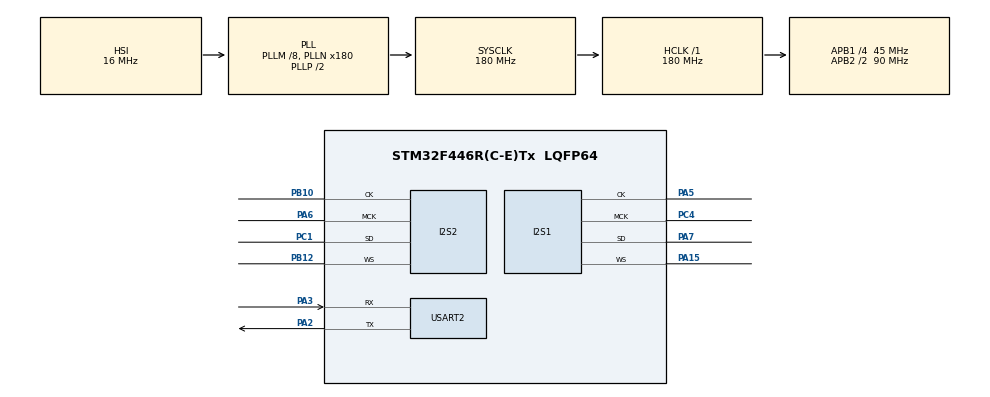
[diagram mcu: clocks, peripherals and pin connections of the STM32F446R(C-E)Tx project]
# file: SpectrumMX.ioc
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Mcu.Family=STM32F4
Dma.SPI2_TX.1.MemInc=DMA_MINC_ENABLE
I2S2.AudioFreq=I2S_AUDIOFREQ_48K
PA6.Mode=Master_Clock_Activated
RCC.CortexFreq_Value=180000000
PA7.Mode=Half_Duplex_Master
I2S1.ErrorAudioFreq=-2.34 %
I2S2.Instance=SPI$Index
PB10.Mode=Half_Duplex_Master
PC4.Signal=I2S1_MCK
Dma.SPI2_TX.1.PeriphInc=DMA_PINC_DISABLE
I2S1.Mode=I2S_MODE_MASTER_RX
I2S1.AudioFreq=I2S_AUDIOFREQ_48K
Dma.SPI1_RX.0.Mode=DMA_CIRCULAR
RCC.APB1CLKDivider=RCC_HCLK_DIV4
NVIC.DMA1_Stream4_IRQn=true\:0\:0\:false\:false\:true\:false\:true
I2S1.Instance=SPI$Index
RCC.SYSCLKSource=RCC_SYSCLKSOURCE_PLLCLK
ProjectManager.StackSize=0x400
Dma.SPI1_RX.0.FIFOMode=DMA_FIFOMODE_DISABLE
PA13.Signal=SYS_JTMS-SWDIO
PA3.Mode=Asynchronous
Dma.SPI1_RX.0.Direction=DMA_PERIPH_TO_MEMORY
ProjectManager.TargetToolchain=STM32CubeIDE
I2S1.DataFormat=I2S_DATAFORMAT_24B
RCC.HCLKFreq_Value=180000000
RCC.APB2TimFreq_Value=180000000
I2S1.VirtualMode=I2S_MODE_MASTER
I2S2.VirtualMode=I2S_MODE_MASTER
NVIC.DMA2_Stream0_IRQn=true\:0\:0\:false\:false\:true\:false\:true
RCC.USBFreq_Value=180000000
RCC.AHBFreq_Value=180000000
PB10.Signal=I2S2_CK
PA5.Signal=I2S1_CK
board=custom
Dma.SPI2_TX.1.Direction=DMA_MEMORY_TO_PERIPH
RCC.VCOOutputFreq_Value=360000000
PA15.Mode=Half_Duplex_Master
Dma.SPI1_RX.0.PeriphInc=DMA_PINC_DISABLE
RCC.APB2Freq_Value=90000000
Dma.SPI2_TX.1.PeriphDataAlignment=DMA_PDATAALIGN_WORD
PA14.Mode=Serial_Wire
Dma.SPI2_TX.1.Priority=DMA_PRIORITY_LOW
Dma.SPI1_RX.0.Instance=DMA2_Stream0
Dma.SPI1_RX.0.PeriphDataAlignment=DMA_PDATAALIGN_WORD
Dma.SPI1_RX.0.MemDataAlignment=DMA_MDATAALIGN_WORD
I2S1.FullDuplexMode=I2S_FULLDUPLEXMODE_DISABLE
I2S2.DataFormat=I2S_DATAFORMAT_24B
PA13.Mode=Serial_Wire
Mcu.Name=STM32F446R(C-E)Tx
Dma.SPI1_RX.0.MemInc=DMA_MINC_ENABLE
PA2.Signal=USART2_TX
I2S2.FullDuplexMode=I2S_FULLDUPLEXMODE_DISABLE
Dma.SPI2_TX.1.FIFOMode=DMA_FIFOMODE_DISABLE
RCC.SYSCLKFreq_VALUE=180000000
Mcu.Package=LQFP64
PA6.Signal=I2S2_MCK
PB12.Mode=Half_Duplex_Master
Dma.SPI2_TX.1.Mode=DMA_CIRCULAR
I2S2.ErrorAudioFreq=-2.34 %
USART2.VirtualMode=VM_ASYNC
PA14.Signal=SYS_JTCK-SWCLK
PA15.Signal=I2S1_WS
ProjectManager.HeapSize=0x200
Dma.SPI2_TX.1.Instance=DMA1_Stream4
Dma.SPI1_RX.0.Priority=DMA_PRIORITY_LOW
NVIC.PriorityGroup=NVIC_PRIORITYGROUP_4
RCC.APB2CLKDivider=RCC_HCLK_DIV2
RCC.PLLM=8
RCC.PLLN=180
Dma.Request1=SPI2_TX
RCC.APB1TimFreq_Value=90000000
PA2.Mode=Asynchronous
I2S1.RealAudioFreq=46.875 KHz
Dma.Request0=SPI1_RX
RCC.APB1Freq_Value=45000000
I2S2.RealAudioFreq=46.875 KHz
Dma.SPI2_TX.1.MemDataAlignment=DMA_MDATAALIGN_WORD
PC1.Signal=I2S2_SD
PB12.Signal=I2S2_WS
PC4.Mode=Master_Clock_Activated
PC1.Mode=Half_Duplex_Master
PA3.Signal=USART2_RX
PA5.Mode=Half_Duplex_Master
PA7.Signal=I2S1_SD

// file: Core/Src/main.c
/* USER CODE BEGIN Header */
/**
  ******************************************************************************
  * @file           : main.c
  * @brief          : Main program body
  ******************************************************************************
  * @attention
  *
  * <h2><center>&copy; Copyright (c) 2021 STMicroelectronics.
  * All rights reserved.</center></h2>
  *
  * This software component is licensed by ST under BSD 3-Clause license,
  * the "License"; You may not use this file except in compliance with the
  * License. You may obtain a copy of the License at:
  *                        opensource.org/licenses/BSD-3-Clause
  *
  ******************************************************************************
  */
#define ARM_MATH_CM4

/* USER CODE END Header */
#include "main.h"

/* USER CODE BEGIN Includes */
#include "arm_math.h"
/* USER CODE END Includes */

I2S_HandleTypeDef hi2s1;
I2S_HandleTypeDef hi2s2;
DMA_HandleTypeDef hdma_spi1_rx;
DMA_HandleTypeDef hdma_spi2_tx;

UART_HandleTypeDef huart2;

void SystemClock_Config(void);
static void MX_GPIO_Init(void);
static void MX_DMA_Init(void);
static void MX_I2S1_Init(void);
static void MX_I2S2_Init(void);
static void MX_USART2_UART_Init(void);

/* USER CODE BEGIN 0 */
uint16_t rxBuf[16384];
uint16_t txBuf[16384];
float fft_in_buf[2048];
float fft_out_buf[2048];

arm_rfft_fast_instance_f32 fft_handler;

float real_fsample = 46875;
uint8_t callback_state = 0;
uint8_t outarray[14];
uint8_t uartfree = 1;
/* USER CODE END 0 */

int main(void)
{

  /* MCU Configuration--------------------------------------------------------*/

  /* Reset of all peripherals, Initializes the Flash interface and the Systick. */
  HAL_Init();

  /* Configure the system clock */
  SystemClock_Config();

  /* Initialize all configured peripherals */
  MX_GPIO_Init();
  MX_DMA_Init();
  MX_I2S1_Init();
  MX_I2S2_Init();
  MX_USART2_UART_Init();
  /* USER CODE BEGIN 2 */
  HAL_I2S_Receive_DMA(&hi2s1, rxBuf, 8192);
  HAL_I2S_Transmit_DMA(&hi2s2, txBuf, 8192);

  arm_rfft_fast_init_f32(&fft_handler, 2048);
  char test[5] = {'h', 'e', 'l', 'l', 'o'};
  /* USER CODE END 2 */

  /* Infinite loop */
  while (1)
  {

    /* USER CODE BEGIN 3 */

	  //do audio loopback and push mono-sum to fft_in_buf
	  HAL_UART_Transmit(&huart2, test, 5, 100);
	  int fft_in_ptr = 0;
	  if (callback_state == 1) {
		  for (int i=0; i<8192; i=i+4) {
			  fft_in_buf[fft_in_ptr] = (float) ((int) (rxBuf[i]<<16)|rxBuf[i+1]);
			  fft_in_buf[fft_in_ptr] += (float) ((int) (rxBuf[i+2]<<16)|rxBuf[i+3]);
			  txBuf[i] = rxBuf[i];
			  txBuf[i+1] = rxBuf[i+1];
			  txBuf[i+2] = rxBuf[i+2];
			  txBuf[i+3] = rxBuf[i+3];
			  fft_in_ptr++;
		  }

		  DoFFT();
	  }

	  if (callback_state == 2) {
		  for (int i=8192; i<16384; i=i+4) {
			  fft_in_buf[fft_in_ptr] = (float) ((int) (rxBuf[i]<<16)|rxBuf[i+1]);
			  fft_in_buf[fft_in_ptr] += (float) ((int) (rxBuf[i+2]<<16)|rxBuf[i+3]);
			  txBuf[i] = rxBuf[i];
			  txBuf[i+1] = rxBuf[i+1];
			  txBuf[i+2] = rxBuf[i+2];
			  txBuf[i+3] = rxBuf[i+3];
			  fft_in_ptr++;
		  }

		  DoFFT();

	  }
  }
  /* USER CODE END 3 */
}

void SystemClock_Config(void)
{
  RCC_OscInitTypeDef RCC_OscInitStruct = {0};
  RCC_ClkInitTypeDef RCC_ClkInitStruct = {0};
  RCC_PeriphCLKInitTypeDef PeriphClkInitStruct = {0};

  /** Configure the main internal regulator output voltage
  */
  __HAL_RCC_PWR_CLK_ENABLE();
  __HAL_PWR_VOLTAGESCALING_CONFIG(PWR_REGULATOR_VOLTAGE_SCALE1);
  /** Initializes the RCC Oscillators according to the specified parameters
  * in the RCC_OscInitTypeDef structure.
  */
  RCC_OscInitStruct.OscillatorType = RCC_OSCILLATORTYPE_HSI;
  RCC_OscInitStruct.HSIState = RCC_HSI_ON;
  RCC_OscInitStruct.HSICalibrationValue = RCC_HSICALIBRATION_DEFAULT;
  RCC_OscInitStruct.PLL.PLLState = RCC_PLL_ON;
  RCC_OscInitStruct.PLL.PLLSource = RCC_PLLSOURCE_HSI;
  RCC_OscInitStruct.PLL.PLLM = 8;
  RCC_OscInitStruct.PLL.PLLN = 180;
  RCC_OscInitStruct.PLL.PLLP = RCC_PLLP_DIV2;
  RCC_OscInitStruct.PLL.PLLQ = 2;
  RCC_OscInitStruct.PLL.PLLR = 2;
  if (HAL_RCC_OscConfig(&RCC_OscInitStruct) != HAL_OK)
  {
    Error_Handler();
  }
  /** Activate the Over-Drive mode
  */
  if (HAL_PWREx_EnableOverDrive() != HAL_OK)
  {
    Error_Handler();
  }
  /** Initializes the CPU, AHB and APB buses clocks
  */
  RCC_ClkInitStruct.ClockType = RCC_CLOCKTYPE_HCLK|RCC_CLOCKTYPE_SYSCLK
                              |RCC_CLOCKTYPE_PCLK1|RCC_CLOCKTYPE_PCLK2;
  RCC_ClkInitStruct.SYSCLKSource = RCC_SYSCLKSOURCE_PLLCLK;
  RCC_ClkInitStruct.AHBCLKDivider = RCC_SYSCLK_DIV1;
  RCC_ClkInitStruct.APB1CLKDivider = RCC_HCLK_DIV4;
  RCC_ClkInitStruct.APB2CLKDivider = RCC_HCLK_DIV2;

  if (HAL_RCC_ClockConfig(&RCC_ClkInitStruct, FLASH_LATENCY_5) != HAL_OK)
  {
    Error_Handler();
  }
  PeriphClkInitStruct.PeriphClockSelection = RCC_PERIPHCLK_I2S_APB1|RCC_PERIPHCLK_I2S_APB2;
  PeriphClkInitStruct.PLLI2S.PLLI2SN = 192;
  PeriphClkInitStruct.PLLI2S.PLLI2SP = RCC_PLLI2SP_DIV2;
  PeriphClkInitStruct.PLLI2S.PLLI2SM = 16;
  PeriphClkInitStruct.PLLI2S.PLLI2SR = 2;
  PeriphClkInitStruct.PLLI2S.PLLI2SQ = 2;
  PeriphClkInitStruct.PLLI2SDivQ = 1;
  PeriphClkInitStruct.I2sApb2ClockSelection = RCC_I2SAPB2CLKSOURCE_PLLI2S;
  PeriphClkInitStruct.I2sApb1ClockSelection = RCC_I2SAPB1CLKSOURCE_PLLI2S;
  if (HAL_RCCEx_PeriphCLKConfig(&PeriphClkInitStruct) != HAL_OK)
  {
    Error_Handler();
  }
}

static void MX_I2S1_Init(void)
{

  hi2s1.Instance = SPI1;
  hi2s1.Init.Mode = I2S_MODE_MASTER_RX;
  hi2s1.Init.Standard = I2S_STANDARD_PHILIPS;
  hi2s1.Init.DataFormat = I2S_DATAFORMAT_24B;
  hi2s1.Init.MCLKOutput = I2S_MCLKOUTPUT_ENABLE;
  hi2s1.Init.AudioFreq = I2S_AUDIOFREQ_48K;
  hi2s1.Init.CPOL = I2S_CPOL_LOW;
  hi2s1.Init.ClockSource = I2S_CLOCK_PLL;
  hi2s1.Init.FullDuplexMode = I2S_FULLDUPLEXMODE_DISABLE;
  if (HAL_I2S_Init(&hi2s1) != HAL_OK)
  {
    Error_Handler();
  }

}

static void MX_I2S2_Init(void)
{

  hi2s2.Instance = SPI2;
  hi2s2.Init.Mode = I2S_MODE_MASTER_TX;
  hi2s2.Init.Standard = I2S_STANDARD_PHILIPS;
  hi2s2.Init.DataFormat = I2S_DATAFORMAT_24B;
  hi2s2.Init.MCLKOutput = I2S_MCLKOUTPUT_ENABLE;
  hi2s2.Init.AudioFreq = I2S_AUDIOFREQ_48K;
  hi2s2.Init.CPOL = I2S_CPOL_LOW;
  hi2s2.Init.ClockSource = I2S_CLOCK_PLL;
  hi2s2.Init.FullDuplexMode = I2S_FULLDUPLEXMODE_DISABLE;
  if (HAL_I2S_Init(&hi2s2) != HAL_OK)
  {
    Error_Handler();
  }

}

static void MX_USART2_UART_Init(void)
{

  huart2.Instance = USART2;
  huart2.Init.BaudRate = 115200;
  huart2.Init.WordLength = UART_WORDLENGTH_8B;
  huart2.Init.StopBits = UART_STOPBITS_1;
  huart2.Init.Parity = UART_PARITY_NONE;
  huart2.Init.Mode = UART_MODE_TX_RX;
  huart2.Init.HwFlowCtl = UART_HWCONTROL_NONE;
  huart2.Init.OverSampling = UART_OVERSAMPLING_16;
  if (HAL_UART_Init(&huart2) != HAL_OK)
  {
    Error_Handler();
  }

}

static void MX_DMA_Init(void)
{

  /* DMA controller clock enable */
  __HAL_RCC_DMA2_CLK_ENABLE();
  __HAL_RCC_DMA1_CLK_ENABLE();

  /* DMA interrupt init */
  /* DMA1_Stream4_IRQn interrupt configuration */
  HAL_NVIC_SetPriority(DMA1_Stream4_IRQn, 0, 0);
  HAL_NVIC_EnableIRQ(DMA1_Stream4_IRQn);
  /* DMA2_Stream0_IRQn interrupt configuration */
  HAL_NVIC_SetPriority(DMA2_Stream0_IRQn, 0, 0);
  HAL_NVIC_EnableIRQ(DMA2_Stream0_IRQn);

}

static void MX_GPIO_Init(void)
{

  /* GPIO Ports Clock Enable */
  __HAL_RCC_GPIOC_CLK_ENABLE();
  __HAL_RCC_GPIOA_CLK_ENABLE();
  __HAL_RCC_GPIOB_CLK_ENABLE();

}

/* USER CODE BEGIN 4 */
float complexABS(float real, float compl)
{
	return sqrtf(real*real+compl*compl);
}

void DoFFT()
{
	//Do FFT
	arm_rfft_fast_f32(&fft_handler, &fft_in_buf,&fft_out_buf,0);

	int freqs[1024];
	int freqpoint = 0;
	int offset = 150; //variable noisefloor offset

	//calculate abs values and linear-to-dB
	for (int i=0; i<2048; i=i+2) {
		freqs[freqpoint] = (int)(20*log10f(complexABS(fft_out_buf[i], fft_out_buf[i+1])))-offset;
		if (freqs[freqpoint]<0) freqs[freqpoint]=0;
		freqpoint++;
	}

/*
	//push out data to Uart
	outarray[0] = 0xff; //frame start
	outarray[1] = (uint8_t)freqs[1]; //31-5Hz
	outarray[2] = (uint8_t)freqs[3]; //63 Hz
	outarray[3] = (uint8_t)freqs[5]; //125 Hz
	outarray[4] = (uint8_t)freqs[11]; //250 Hz
	outarray[5] = (uint8_t)freqs[22]; //500 Hz
	outarray[6] = (uint8_t)freqs[44]; //1 kHz
	outarray[7] = (uint8_t)freqs[96]; //2.2 kHz
	outarray[8] = (uint8_t)freqs[197]; //4.5 kHz
	outarray[9] = (uint8_t)freqs[393]; //9 kHz
	outarray[10] = (uint8_t)freqs[655]; //15 lHz

	//if (uartfree==1) HAL_UART_Transmit_DMA(&huart2, &outarray[0], 11);
	uartfree = 0;
	*/
	callback_state=0;
}

void HAL_I2S_RxHalfCpltCallback(I2S_HandleTypeDef *hi2s1)
{
	  int left=(rxBuf[0]<<16 | rxBuf[1]);
	  int right=(rxBuf[2]<<16 | rxBuf[3]);
	  txBuf[0]=(left>>16)&0xFFFF;
	  txBuf[1]=left&0xFFFF;
	  txBuf[2]=(right>>16)&0xFFFF;
	  txBuf[3]=right&0xFFFF;

	  callback_state = 1;
}

void HAL_I2S_RxCpltCallback(I2S_HandleTypeDef *hi2s1)
{
	  int left=(rxBuf[4]<<16 | rxBuf[5]);
	  int right=(rxBuf[6]<<16 | rxBuf[7]);
	  txBuf[4]=(left>>16)&0xFFFF;
	  txBuf[5]=left&0xFFFF;
	  txBuf[6]=(right>>16)&0xFFFF;
	  txBuf[7]=right&0xFFFF;

	  callback_state = 2;
}
/* USER CODE END 4 */

void Error_Handler(void)
{
  __disable_irq();
  while (1)
  {
  }
}

/************************ (C) COPYRIGHT STMicroelectronics *****END OF FILE****/
